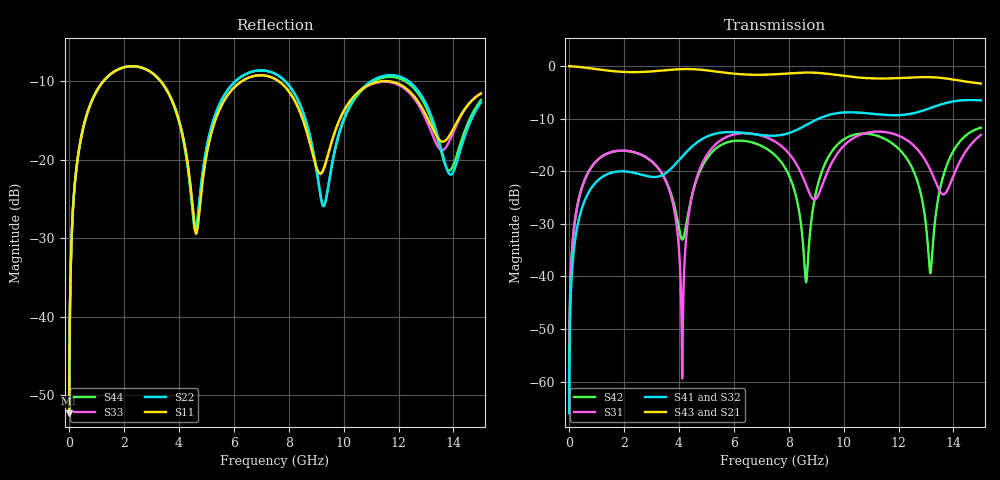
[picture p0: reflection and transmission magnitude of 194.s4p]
! Created with skrf 1.8.0 (http://scikit-rf.org).
# GHz S RI R 50.0
!freq ReS11 ImS11 ReS12 ImS12 ReS13 ImS13
! ReS14 ImS14
! ReS21 ImS21 ReS22 ImS22 ReS23 ImS23
! ReS24 ImS24
! ReS31 ImS31 ReS32 ImS32 ReS33 ImS33
! ReS34 ImS34
! ReS41 ImS41 ReS42 ImS42 ReS43 ImS43
! ReS44 ImS44
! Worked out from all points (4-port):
!   2499 points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, 5 MHz to 15 GHz, reference 50 ohm
!   strongest paths, dB at 5 MHz, 3.476 GHz, 7.19 GHz, 11.1 GHz, 15 GHz:
!     S43: 0.0, -0.8, -1.6, -2.3, -3.3
!     S21: 0.0, -0.8, -1.6, -2.4, -3.3
!     S41: -66.0, -20.5, -13.2, -9.1, -6.5
!     S32: -66.0, -20.5, -13.3, -9.1, -6.5
!     S31: -62.0, -21.3, -13.5, -12.5, -13.1
!     S42: -62.0, -21.2, -15.7, -13.1, -11.7
!   lowest |S11| = -52.3 dB at 5 MHz (marker M1), VSWR 1.00, Z = 50.2 + j0.148 ohm
!   |S11| at or under -10 dB: start of sweep to 1.262 GHz; 3.332 GHz to 6.312 GHz (2.98 GHz wide, 61.8 % of centre); 7.621 GHz to end of sweep
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0.005  0.00194 0.00147  0.998 -0.00377  9.91e-05 0.000787  -9.61e-05 -0.000491
       0.998 -0.00377  0.00194 0.00147  -9.61e-05 -0.000491  9.91e-05 0.000787
       9.91e-05 0.000787  -9.61e-05 -0.000491  0.00194 0.00147  0.998 -0.00377
       -9.61e-05 -0.000491  9.91e-05 0.000787  0.998 -0.00377  0.00194 0.00147
1.3193  0.2722 0.1766  0.5442 -0.7313  0.131 0.061  -0.0917 -0.00546
        0.5442 -0.7313  0.2728 0.1762  -0.0916 -0.00552  0.1298 0.0626
        0.131 0.061  -0.0916 -0.00552  0.2723 0.1766  0.5442 -0.7313
        -0.0917 -0.00546  0.1298 0.0626  0.5442 -0.7313  0.2727 0.1763
4.126719  0.0747 -0.1256  -0.8538 -0.384  -0.00107 0.000405  -0.0526 0.128
          -0.8538 -0.384  0.0743 -0.1224  -0.0532 0.1277  -0.0212 -0.00722
          -0.00107 0.000405  -0.0532 0.1277  0.0754 -0.1253  -0.8537 -0.3841
          -0.0526 0.128  -0.0212 -0.00722  -0.8537 -0.3841  0.0737 -0.1227
5.345977  0.1241 0.1324  -0.8019 0.3806  0.1426 0.1112  0.1313 0.1868
          -0.8019 0.3806  0.139 0.1404  0.1301 0.187  0.0932 0.1353
          0.1426 0.1112  0.1301 0.187  0.1256 0.1315  -0.8021 0.3804
          0.1313 0.1868  0.0932 0.1353  -0.8021 0.3804  0.137 0.1408
9.303877  0.0859 0.0277  0.8441 0.1047  -0.0152 0.0824  0.0279 -0.3316
          0.8441 0.1047  0.0514 0.00263  0.032 -0.3312  0.0342 0.1096
          -0.0152 0.0824  0.032 -0.3312  0.0853 0.0263  0.8441 0.1056
          0.0279 -0.3316  0.0342 0.1096  0.8441 0.1056  0.0516 0.000999
13.16173  0.154 -0.0668  -0.5586 -0.5476  -0.0553 -0.0867  -0.2661 0.2978
          -0.5586 -0.5476  0.1413 -0.1353  -0.2731 0.2906  -0.0102 -0.00334
          -0.0553 -0.0867  -0.2731 0.2906  0.1386 -0.0674  -0.5617 -0.5475
          -0.2661 0.2978  -0.0102 -0.00334  -0.5617 -0.5475  0.1409 -0.121
15  0.2573 0.05  -0.6179 0.2953  0.2099 0.0714  0.2808 0.3791
    -0.6179 0.2953  0.208 0.1  0.2736 0.3851  0.2166 0.1429
    0.2099 0.0714  0.2736 0.3851  0.2573 0.0617  -0.6159 0.2957
    0.2808 0.3791  0.2166 0.1429  -0.6159 0.2957  0.2158 0.1028
